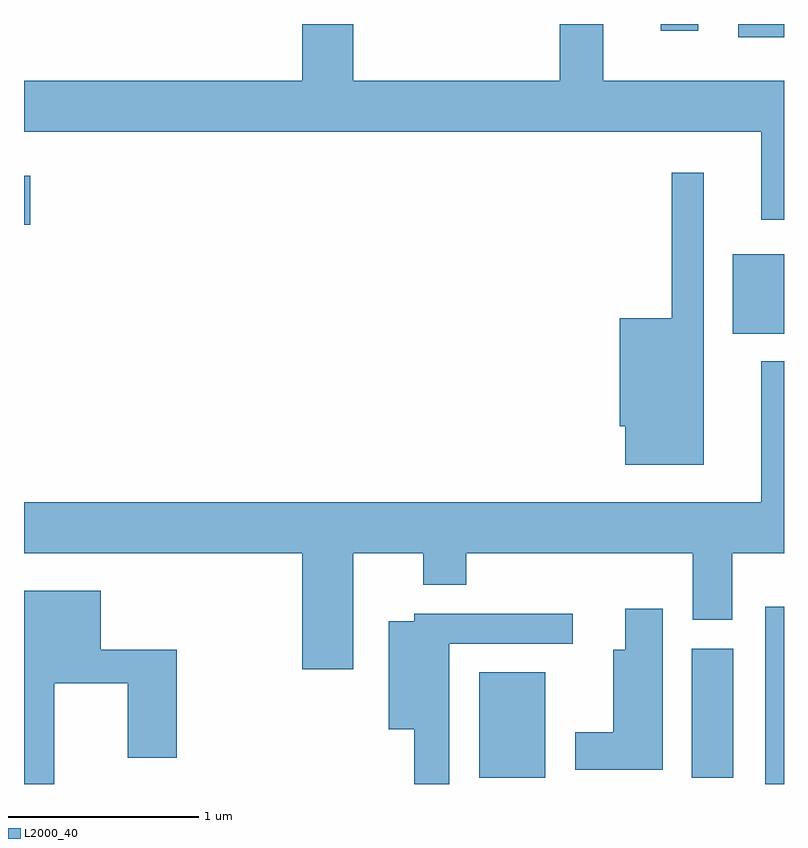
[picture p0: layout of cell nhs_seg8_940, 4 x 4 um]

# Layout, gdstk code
import gdstk
lib = gdstk.Library(unit=1e-6, precision=1e-09)
def R(c, l, rs):  # rectangles x0, y0, x1, y1
    for r in rs: c.add(gdstk.rectangle(r[:2], r[2:], *l))
def P(c, l, *ps):  # polygons
    for p in ps: c.add(gdstk.Polygon(p, *l))
L2000_40 = (2000, 40)

nhs_seg8_940 = lib.new_cell('nhs_seg8_940')
R(nhs_seg8_940, L2000_40, [(217.511,1806.342,217.611,1807.274), (216.006,1806.376,216.354,1806.929), (217.126,1806.376,217.344,1807.054), (217.341,1808.711,217.611,1809.129), (213.611,1809.286,213.644,1809.544), (217.371,1810.271,217.611,1810.342), (216.961,1810.306,217.159,1810.342)])
P(nhs_seg8_940, L2000_40, [(215.076,1810.342),(215.076,1810.044),(213.611,1810.044),(213.611,1809.776),(217.491,1809.776),(217.491,1809.313),(217.611,1809.313),(217.611,1810.044),(216.659,1810.044),(216.659,1810.342),(216.431,1810.342),(216.431,1810.044),(215.344,1810.044),(215.344,1810.342)],
  [(217.189,1809.558),(217.021,1809.558),(217.021,1808.794),(216.746,1808.794),(216.746,1808.226),(216.776,1808.226),(216.776,1808.021),(217.189,1808.021)],
  [(215.344,1807.556),(215.711,1807.556),(215.711,1807.391),(215.939,1807.391),(215.939,1807.556),(217.131,1807.556),(217.131,1807.206),(217.339,1807.206),(217.339,1807.556),(217.611,1807.556),(217.611,1808.568),(217.491,1808.568),(217.491,1807.824),(213.611,1807.824),(213.611,1807.556),(215.076,1807.556),(215.076,1806.946),(215.344,1806.946)],
  [(213.769,1806.871),(214.156,1806.871),(214.156,1806.481),(214.414,1806.481),(214.414,1807.049),(214.014,1807.049),(214.014,1807.359),(213.611,1807.359),(213.611,1806.342),(213.769,1806.342)],
  [(216.974,1807.264),(216.776,1807.264),(216.776,1807.049),(216.711,1807.049),(216.711,1806.614),(216.511,1806.614),(216.511,1806.416),(216.974,1806.416)],
  [(215.849,1807.081),(216.498,1807.081),(216.498,1807.239),(215.666,1807.239),(215.666,1807.199),(215.531,1807.199),(215.531,1806.631),(215.666,1806.631),(215.666,1806.342),(215.849,1806.342)])

lib.write_gds('nhs_seg8_940.gds')
